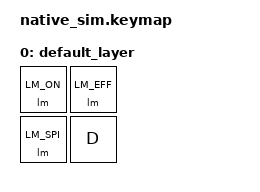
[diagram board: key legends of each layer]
#include <dt-bindings/zmk/keys.h>
#include <dt-bindings/zmk/kscan_mock.h>
#include <dt-bindings/zmk/led_matrix.h>
#include <dt-bindings/led/led.h>
#include <behaviors.dtsi>

/ {
    chosen {
        zmk,kscan = &kscan;
        zmk,led-matrix = &led_matrix;
    };

    kscan: native_posix_64_kscan_mock {
        compatible = "zmk,kscan-mock";
        rows = <2>;
        columns = <2>;
        exit-after;
        events = <
            ZMK_MOCK_PRESS(0,0,500)
            ZMK_MOCK_RELEASE(0,0,10)
            ZMK_MOCK_PRESS(0,1,1990)
            ZMK_MOCK_RELEASE(0,1,4)
            ZMK_MOCK_PRESS(1,0,1)
            ZMK_MOCK_RELEASE(1,0,10)
        >;
    };

    keymap {
        compatible = "zmk,keymap";

        default_layer {
            bindings = <
                &lm LM_ON &lm LM_EFF
                &lm LM_SPI &kp D
            >;
        };
    };

    led_matrix_dev: led_matrix_dev {
        compatible = "zmk,led-mock";
        mode = "color";

        led_0 { index = <0>; color-mapping = <LED_COLOR_ID_GREEN LED_COLOR_ID_RED LED_COLOR_ID_BLUE>; };
        led_1 { index = <1>; color-mapping = <LED_COLOR_ID_GREEN LED_COLOR_ID_RED LED_COLOR_ID_BLUE>; };
        led_2 { index = <2>; color-mapping = <LED_COLOR_ID_GREEN LED_COLOR_ID_RED LED_COLOR_ID_BLUE>; };
        led_3 { index = <3>; color-mapping = <LED_COLOR_ID_GREEN LED_COLOR_ID_RED LED_COLOR_ID_BLUE>; };
    };

    led_matrix: led_matrix {
        compatible = "zmk,led-matrix";
        led-driver = "matrix";
        led-device = <&led_matrix_dev>;
        led-count = <4>;
        matrix-led-grid = <
            0 1 LM_BREAK
            2 3
        >;

        profile0 {
            profile-id = <0>;
            display-name = "Solid Red";
            renderer = "solid";
            colors = <0xFF0000>;
            brightness = <100>;
            period-ms = <1000>;
        };

        profile1 {
            profile-id = <1>;
            display-name = "Starlight Speed";
            renderer = "starlight";
            colors = <0xFF0000>;
            brightness = <100>;
            period-ms = <1000>;
        };
    };
};
